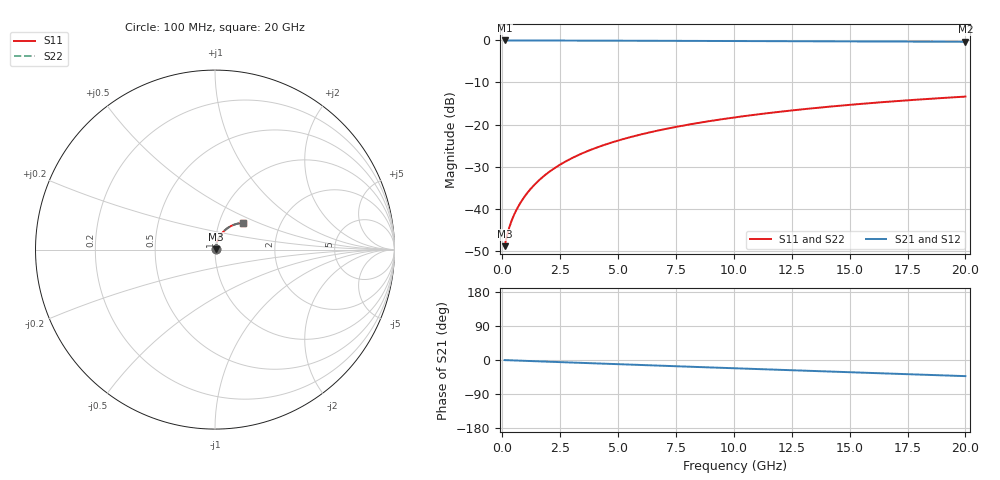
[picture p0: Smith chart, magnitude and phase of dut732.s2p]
! Touchstone file exported from HFSS 2026.1.0
!  File:  C:/ffzhzh/LocalFiles/Ansys_Project_Files/temp_train_BSMRDL_732_1783168551_51560.aedt
!  Generated:  08:37:02 PM Jul  4, 2026
!  Design:  BSMRDL
!  Project:  temp_train_BSMRDL_732_1783168551_51560
! Variables:
!  h_bsmrdl = 4.03um
!  h_ox = 20um
!  h_rdl = 5um
!  h_sub = 80um
!  h_tmrdl = 5um
!  h_tsv = 80um
!  h_via = 3um
!  l_bsmrdl = 721.27um
!  l_sub = 1121.27um
!  l_tmrdl = 200um
!  m_sub = 200um
!  pitch = 32.4um
!  r_tsv = 6um
!  s_tmrdl = 10um
!  w_bsmrdl = 21.52um
!  w_sub = 500um
!  w_tmrdl = 12um
!  x_tsv_center1 = 206um
!  x_tsv_center2 = 948.79um
!  x_tsv_center3 = 1160.79um
!  x_tsv_center4 = 1903.58um
!  x_tsv_center5 = 2115.58um
!  x_tsv_center6 = 2858.37um
# GHz S MA R 50.000000
! Terminal data exported
! Port[1] = BSM_RDL1_1_T1
! Port[2] = BSM_RDL1_1_T2
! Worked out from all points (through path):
!   200 points, 100 MHz to 20 GHz, reference 50 ohm
!   highest |S21| = -0.03 dB at 100 MHz (marker M1); lowest = -0.3 dB at 20 GHz (marker M2)
!   group delay of S21, straight-line fit = 5.9 ps
!   lowest |S11| = -48.9 dB at 100 MHz (marker M3), VSWR 1.01, Z = 50.3 + j0.172 ohm
!   |S11| at or under -10 dB: start of sweep to end of sweep
!   |S22| runs from -48.9 to -13.4 dB; largest |S21 - S12| = 4.2e-15
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0.1  0.003605 28.3  0.9968 -0.2  0.9968 -0.2  0.003605 28.3
! Gamma 0 0 0 0
! Port Impedance 50 0 50 0
0.2  0.004754 43.4  0.9966 -0.5  0.9966 -0.5  0.004754 43.4
0.3  0.005991 51.2  0.9963 -0.7  0.9963 -0.7  0.005991 51.2
0.4  0.007202 56.2  0.9961 -0.9  0.9961 -0.9  0.007202 56.2
0.5  0.008393 59.8  0.9959 -1.2  0.9959 -1.2  0.008393 59.8
0.6  0.009583 62.6  0.9958 -1.4  0.9958 -1.4  0.009583 62.6
0.8  0.01199 66.7  0.9956 -1.8  0.9956 -1.8  0.01199 66.7
1  0.01445 69.5  0.9955 -2.3  0.9955 -2.3  0.01445 69.5
1.2  0.01695 71.5  0.9953 -2.7  0.9953 -2.7  0.01695 71.5
1.4  0.01948 72.8  0.9952 -3.1  0.9952 -3.1  0.01948 72.8
1.7  0.0233 74.1  0.9949 -3.8  0.9949 -3.8  0.0233 74.1
2.2  0.0297 75.0  0.9944 -4.9  0.9944 -4.9  0.0297 75.0
2.8  0.03735 75.1  0.9938 -6.3  0.9938 -6.3  0.03735 75.1
3.5  0.04618 74.5  0.9928 -7.8  0.9928 -7.8  0.04618 74.5
4.2  0.05488 73.6  0.9918 -9.3  0.9918 -9.3  0.05488 73.6
5  0.06464 72.3  0.9905 -11.1  0.9905 -11.1  0.06464 72.3
6.8  0.08586 69.0  0.9873 -15.0  0.9873 -15.0  0.08586 69.0
8.3  0.1028 66.2  0.9846 -18.2  0.9846 -18.2  0.1028 66.2
10.1  0.1224 62.7  0.9812 -22.0  0.9812 -22.0  0.1224 62.7
13.4  0.1562 56.4  0.9747 -28.9  0.9747 -28.9  0.1562 56.4
16.7  0.1871 49.9  0.968 -35.8  0.968 -35.8  0.1871 50.0
20  0.2149 43.6  0.9613 -42.6  0.9613 -42.6  0.2149 43.6
